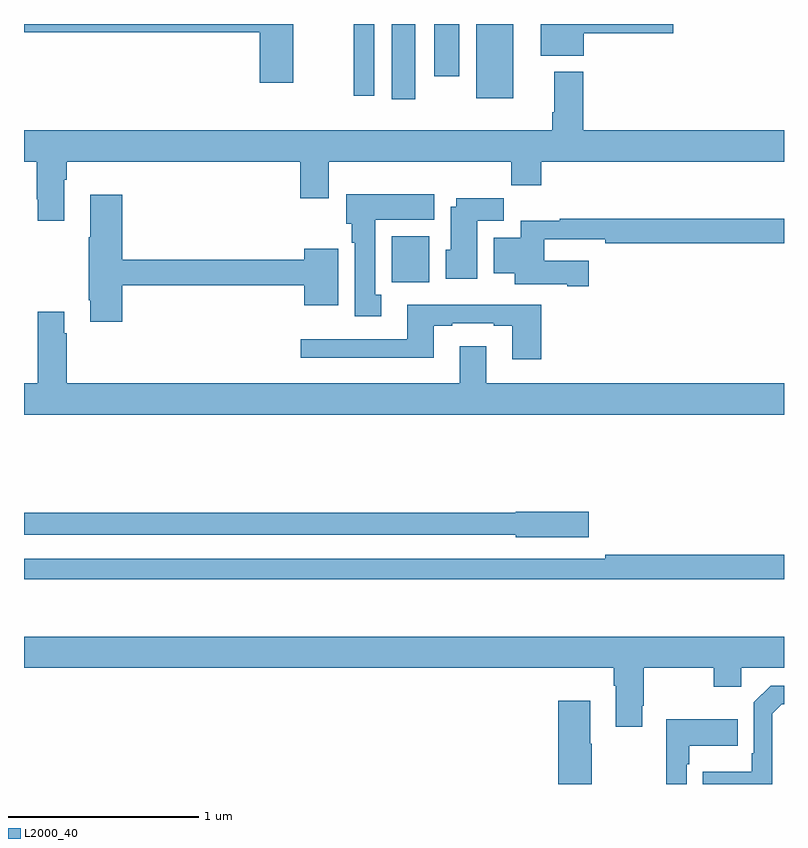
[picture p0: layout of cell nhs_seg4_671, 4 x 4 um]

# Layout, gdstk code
import gdstk
lib = gdstk.Library(unit=1e-6, precision=1e-09)
def R(c, l, rs):  # rectangles x0, y0, x1, y1
    for r in rs: c.add(gdstk.rectangle(r[:2], r[2:], *l))
def P(c, l, *ps):  # polygons
    for p in ps: c.add(gdstk.Polygon(p, *l))
L2000_40 = (2000, 40)

nhs_seg4_671 = lib.new_cell('nhs_seg4_671')
R(nhs_seg4_671, L2000_40, [(146.936,773.54,147.133,773.782), (146.936,774.504,147.058,774.9), (147.38,774.509,147.574,774.898), (146.736,774.522,146.844,774.9), (147.158,774.624,147.292,774.9)])
P(nhs_seg4_671, L2000_40, [(147.946,774.851),(148.417,774.851),(148.417,774.9),(147.719,774.9),(147.719,774.734),(147.946,774.734)],
  [(146.418,774.9),(145,774.9),(145,774.856),(146.24,774.856),(146.24,774.591),(146.418,774.591)],
  [(145,774.176),(145.066,774.176),(145.066,773.977),(145.073,773.977),(145.073,773.865),(145.213,773.865),(145.213,774.08),(145.226,774.08),(145.226,774.176),(146.453,774.176),(146.453,773.982),(146.605,773.982),(146.605,774.176),(147.565,774.176),(147.565,774.052),(147.722,774.052),(147.722,774.176),(149,774.176),(149,774.34),(147.944,774.34),(147.944,774.649),(147.791,774.649),(147.791,774.436),(147.779,774.436),(147.779,774.34),(145,774.34)],
  [(146.881,773.474),(146.848,773.474),(146.848,773.87),(147.16,773.87),(147.16,774.004),(146.696,774.004),(146.696,773.85),(146.726,773.85),(146.726,773.75),(146.741,773.75),(146.741,773.361),(146.881,773.361)],
  [(145.517,773.524),(146.474,773.524),(146.474,773.42),(146.653,773.42),(146.653,773.716),(146.474,773.716),(146.474,773.66),(145.517,773.66),(145.517,774.001),(145.349,774.001),(145.349,773.777),(145.342,773.777),(145.342,773.446),(145.349,773.446),(145.349,773.334),(145.517,773.334)],
  [(147.385,773.864),(147.524,773.864),(147.524,773.983),(147.275,773.983),(147.275,773.938),(147.245,773.938),(147.245,773.712),(147.221,773.712),(147.221,773.558),(147.385,773.558)],
  [(147.973,773.653),(147.737,773.653),(147.737,773.766),(148.06,773.766),(148.06,773.746),(149,773.746),(149,773.875),(147.82,773.875),(147.82,773.864),(147.614,773.864),(147.614,773.776),(147.473,773.776),(147.473,773.588),(147.584,773.588),(147.584,773.531),(147.86,773.531),(147.86,773.519),(147.973,773.519)],
  [(147.722,773.422),(147.017,773.422),(147.017,773.241),(146.457,773.241),(146.457,773.144),(147.157,773.144),(147.157,773.313),(147.253,773.313),(147.253,773.325),(147.473,773.325),(147.473,773.313),(147.569,773.313),(147.569,773.136),(147.722,773.136)],
  [(149,773.008),(147.433,773.008),(147.433,773.203),(147.293,773.203),(147.293,773.008),(145.226,773.008),(145.226,773.273),(145.213,773.273),(145.213,773.386),(145.073,773.386),(145.073,773.008),(145,773.008),(145,772.844),(149,772.844)],
  [(147.973,772.334),(147.588,772.334),(147.588,772.328),(145,772.328),(145,772.212),(147.588,772.212),(147.588,772.199),(147.973,772.199)],
  [(149,772.106),(148.06,772.106),(148.06,772.086),(145,772.086),(145,771.978),(149,771.978)],
  [(148.255,771.313),(148.263,771.313),(148.263,771.512),(148.63,771.512),(148.63,771.413),(148.776,771.413),(148.776,771.512),(149,771.512),(149,771.676),(145,771.676),(145,771.512),(148.103,771.512),(148.103,771.416),(148.115,771.416),(148.115,771.201),(148.255,771.201)],
  [(148.938,771.27),(148.989,771.321),(149,771.321),(149,771.417),(148.929,771.417),(148.842,771.33),(148.842,771.061),(148.83,771.061),(148.83,770.965),(148.573,770.965),(148.573,770.9),(148.938,770.9)],
  [(147.987,771.113),(147.979,771.113),(147.979,771.337),(147.812,771.337),(147.812,770.9),(147.987,770.9)],
  [(148.488,771.005),(148.501,771.005),(148.501,771.101),(148.757,771.101),(148.757,771.241),(148.38,771.241),(148.38,770.9),(148.488,770.9)])

lib.write_gds('nhs_seg4_671.gds')
